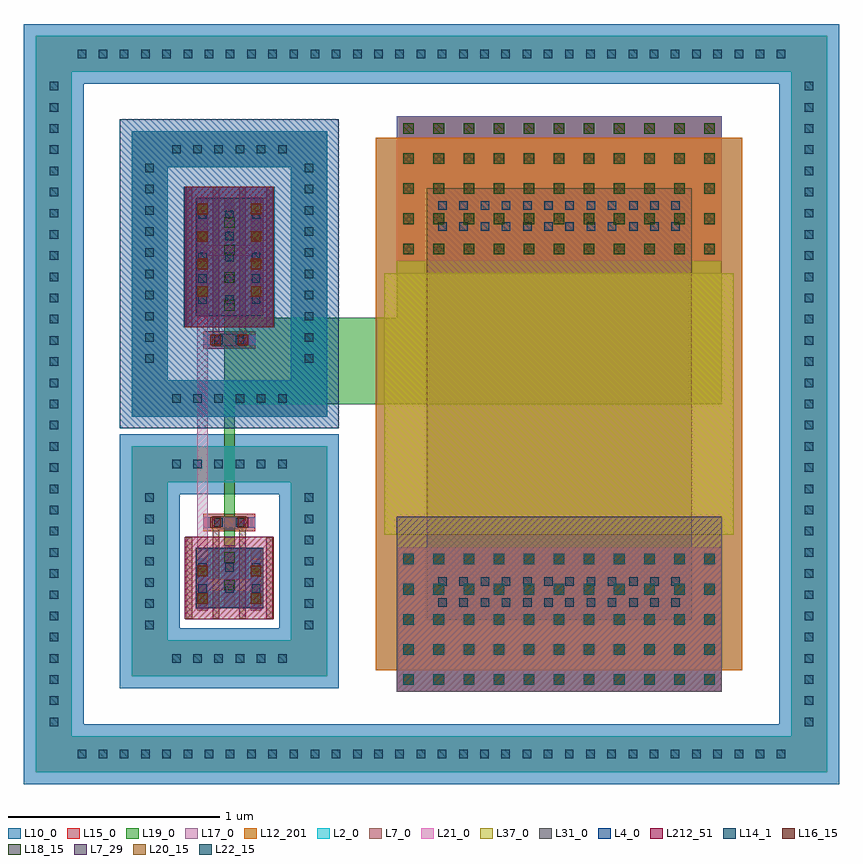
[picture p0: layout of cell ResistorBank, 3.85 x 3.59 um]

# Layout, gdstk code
import gdstk
lib = gdstk.Library(unit=1e-6, precision=1e-09)
def R(c, l, rs):  # rectangles x0, y0, x1, y1
    for r in rs: c.add(gdstk.rectangle(r[:2], r[2:], *l))
def A(c, l, x, y, w, h, nx, ny, dx, dy):  # array of equal rectangles
    R(c, l, [(x+i*dx, y+j*dy, x+i*dx+w, y+j*dy+h) for i in range(nx) for j in range(ny)])
L2_0 = (2, 0)
L4_0 = (4, 0)
L7_0 = (7, 0)
L7_29 = (7, 29)
L10_0 = (10, 0)
L12_201 = (12, 201)
L14_1 = (14, 1)
L15_0 = (15, 0)
L16_15 = (16, 15)
L17_0 = (17, 0)
L18_15 = (18, 15)
L19_0 = (19, 0)
L20_15 = (20, 15)
L21_0 = (21, 0)
L22_15 = (22, 15)
L31_0 = (31, 0)
L37_0 = (37, 0)
L212_51 = (212, 51)

nmossubringinresistorban = lib.new_cell('NMOSSubringInResistorBank')
R(nmossubringinresistorban, L2_0, [(-0.461,-0.543,-0.291,0.543), (-0.461,-0.543,0.461,-0.373), (0.291,-0.543,0.461,0.543), (-0.461,0.373,0.461,0.543)])
A(nmossubringinresistorban, L14_1, -0.27, -0.478, 0.04, 0.04, 6, 2, 0.1, 0.916)
A(nmossubringinresistorban, L14_1, -0.396, -0.32, 0.04, 0.04, 1, 7, 0, 0.1)
A(nmossubringinresistorban, L14_1, 0.356, -0.32, 0.04, 0.04, 1, 7, 0, 0.1)
R(nmossubringinresistorban, L15_0, [(-0.461,-0.543,0.461,-0.373), (-0.461,-0.543,-0.291,0.543), (0.291,-0.543,0.461,0.543), (-0.461,0.373,0.461,0.543)])
nmossubringinresistorban.add(gdstk.FlexPath([(0.376,0.599),(0.376,-0.458),(-0.376,-0.458),(-0.376,0.458),(0.517,0.458)], 0.282, ends="flush", simple_path=True, layer=10, datatype=0))  # L10_0

pmossubringinresistorban = lib.new_cell('PMOSSubringInResistorBank')
R(pmossubringinresistorban, L2_0, [(-0.461,-0.673,-0.291,0.673), (-0.461,-0.673,0.461,-0.503), (0.291,-0.673,0.461,0.673), (-0.461,0.503,0.461,0.673)])
A(pmossubringinresistorban, L14_1, -0.27, -0.608, 0.04, 0.04, 6, 2, 0.1, 1.176)
A(pmossubringinresistorban, L14_1, -0.396, -0.42, 0.04, 0.04, 1, 10, 0, 0.1)
A(pmossubringinresistorban, L14_1, 0.356, -0.42, 0.04, 0.04, 1, 10, 0, 0.1)
R(pmossubringinresistorban, L15_0, [(-0.461,-0.673,0.461,-0.503), (-0.461,-0.673,-0.291,0.673), (0.291,-0.673,0.461,0.673), (-0.461,0.503,0.461,0.673)])
pmossubringinresistorban.add(gdstk.FlexPath([(0.376,0.729),(0.376,-0.588),(-0.376,-0.588),(-0.376,0.588),(0.517,0.588)], 0.282, ends="flush", simple_path=True, layer=4, datatype=0))  # L4_0

totalsubringinresistorba = lib.new_cell('TotalSubringInResistorBank')
R(totalsubringinresistorba, L2_0, [(-1.867,-1.737,-1.697,1.737), (-1.867,-1.737,1.867,-1.567), (1.697,-1.737,1.867,1.737), (-1.867,1.567,1.867,1.737)])
A(totalsubringinresistorba, L14_1, -1.67, -1.672, 0.04, 0.04, 34, 2, 0.1, 3.304)
A(totalsubringinresistorba, L14_1, -1.802, -1.52, 0.04, 0.04, 1, 31, 0, 0.1)
A(totalsubringinresistorba, L14_1, 1.762, -1.52, 0.04, 0.04, 1, 31, 0, 0.1)
R(totalsubringinresistorba, L15_0, [(-1.867,-1.737,1.867,-1.567), (-1.867,-1.737,-1.697,1.737), (1.697,-1.737,1.867,1.737), (-1.867,1.567,1.867,1.737)])
totalsubringinresistorba.add(gdstk.FlexPath([(1.782,1.793),(1.782,-1.652),(-1.782,-1.652),(-1.782,1.652),(1.923,1.652)], 0.282, ends="flush", simple_path=True, layer=10, datatype=0))  # L10_0

viamet12met2onnmosoutput = lib.new_cell('ViaMet12Met2OnNMOSOutputInTransmissionGate')
R(viamet12met2onnmosoutput, L15_0, [(-0.025,-0.122,0.025,0.122)])
R(viamet12met2onnmosoutput, L16_15, [(-0.025,-0.09,0.025,-0.04), (-0.025,0.04,0.025,0.09)])
R(viamet12met2onnmosoutput, L17_0, [(-0.025,-0.122,0.025,0.122)])

viamet32met4onpmosoutput = lib.new_cell('ViaMet32Met4OnPMOSOutputInTransmissionGate')
R(viamet32met4onpmosoutput, L19_0, [(-0.025,-0.252,0.025,0.252)])
A(viamet32met4onpmosoutput, L20_15, -0.025, -0.22, 0.05, 0.05, 1, 4, 0, 0.13)
R(viamet32met4onpmosoutput, L21_0, [(-0.025,-0.252,0.025,0.252)])

viamet32met4onnmosoutput = lib.new_cell('ViaMet32Met4OnNMOSOutputInTransmissionGate')
R(viamet32met4onnmosoutput, L19_0, [(-0.025,-0.122,0.025,0.122)])
R(viamet32met4onnmosoutput, L20_15, [(-0.025,-0.09,0.025,-0.04), (-0.025,0.04,0.025,0.09)])
R(viamet32met4onnmosoutput, L21_0, [(-0.025,-0.122,0.025,0.122)])

pmosintransmissiongate = lib.new_cell('PMOSInTransmissionGate')
R(pmosintransmissiongate, L2_0, [(-0.154,-0.275,0.154,0.275)])
A(pmosintransmissiongate, L7_0, -0.204, -0.331, 0.03, 0.662, 4, 1, 0.126, 0)
R(pmosintransmissiongate, L7_29, [(-0.159,-0.28,0.159,0.28)])
R(pmosintransmissiongate, L10_0, [(-0.214,-0.331,0.214,0.331)])
A(pmosintransmissiongate, L14_1, -0.146, -0.22, 0.04, 0.04, 3, 5, 0.126, 0.1)
A(pmosintransmissiongate, L15_0, -0.151, -0.275, 0.05, 0.55, 3, 1, 0.126, 0)
R(pmosintransmissiongate, L212_51, [(-0.21,-0.331,0.21,0.331)])

viamet22met3onnmosoutput = lib.new_cell('ViaMet22Met3OnNMOSOutputInTransmissionGate')
R(viamet22met3onnmosoutput, L17_0, [(-0.025,-0.122,0.025,0.122)])
R(viamet22met3onnmosoutput, L18_15, [(-0.025,-0.09,0.025,-0.04), (-0.025,0.04,0.025,0.09)])
R(viamet22met3onnmosoutput, L19_0, [(-0.025,-0.122,0.025,0.122)])

viapoly2met1onnmosinputi = lib.new_cell('ViaPoly2Met1OnNMOSInputInTransmissionGate')
R(viapoly2met1onnmosinputi, L7_0, [(-0.08,-0.03,0.08,0.03)])
R(viapoly2met1onnmosinputi, L14_1, [(-0.07,-0.02,-0.03,0.02), (0.03,-0.02,0.07,0.02)])
R(viapoly2met1onnmosinputi, L15_0, [(-0.091,-0.041,0.091,0.041)])

viamet12met2onnmosinputi = lib.new_cell('ViaMet12Met2OnNMOSInputInTransmissionGate')
R(viamet12met2onnmosinputi, L15_0, [(-0.122,-0.025,0.122,0.025)])
R(viamet12met2onnmosinputi, L16_15, [(-0.09,-0.025,-0.04,0.025), (0.04,-0.025,0.09,0.025)])
R(viamet12met2onnmosinputi, L17_0, [(-0.122,-0.025,0.122,0.025)])

viamet12met2onpmosoutput = lib.new_cell('ViaMet12Met2OnPMOSOutputInTransmissionGate')
R(viamet12met2onpmosoutput, L15_0, [(-0.025,-0.252,0.025,0.252)])
A(viamet12met2onpmosoutput, L16_15, -0.025, -0.22, 0.05, 0.05, 1, 4, 0, 0.13)
R(viamet12met2onpmosoutput, L17_0, [(-0.025,-0.252,0.025,0.252)])

viamet12met2onpmosinputi = lib.new_cell('ViaMet12Met2OnPMOSInputInTransmissionGate')
R(viamet12met2onpmosinputi, L15_0, [(-0.122,-0.025,0.122,0.025)])
R(viamet12met2onpmosinputi, L16_15, [(-0.09,-0.025,-0.04,0.025), (0.04,-0.025,0.09,0.025)])
R(viamet12met2onpmosinputi, L17_0, [(-0.122,-0.025,0.122,0.025)])

viapoly2met1onpmosinputi = lib.new_cell('ViaPoly2Met1OnPMOSInputInTransmissionGate')
R(viapoly2met1onpmosinputi, L7_0, [(-0.08,-0.03,0.08,0.03)])
R(viapoly2met1onpmosinputi, L14_1, [(-0.07,-0.02,-0.03,0.02), (0.03,-0.02,0.07,0.02)])
R(viapoly2met1onpmosinputi, L15_0, [(-0.091,-0.041,0.091,0.041)])

viamet22met3onpmosoutput = lib.new_cell('ViaMet22Met3OnPMOSOutputInTransmissionGate')
R(viamet22met3onpmosoutput, L17_0, [(-0.025,-0.252,0.025,0.252)])
A(viamet22met3onpmosoutput, L18_15, -0.025, -0.22, 0.05, 0.05, 1, 4, 0, 0.13)
R(viamet22met3onpmosoutput, L19_0, [(-0.025,-0.252,0.025,0.252)])

nmosintransmissiongate = lib.new_cell('NMOSInTransmissionGate')
R(nmosintransmissiongate, L2_0, [(-0.154,-0.137,0.154,0.137)])
A(nmosintransmissiongate, L7_0, -0.204, -0.193, 0.03, 0.386, 4, 1, 0.126, 0)
R(nmosintransmissiongate, L7_29, [(-0.159,-0.142,0.159,0.142)])
A(nmosintransmissiongate, L14_1, -0.146, -0.07, 0.04, 0.04, 3, 2, 0.126, 0.1)
A(nmosintransmissiongate, L15_0, -0.151, -0.137, 0.05, 0.274, 3, 1, 0.126, 0)
R(nmosintransmissiongate, L212_51, [(-0.21,-0.193,0.21,0.193)])

transmissiongateinresist = lib.new_cell('TransmissionGateInResistorBank')
transmissiongateinresist.add(gdstk.FlexPath([(-0.126,1.925),(0.126,1.925)], 0.05, ends="flush", simple_path=True, layer=21, datatype=0))  # L21_0
transmissiongateinresist.add(gdstk.FlexPath([(-0.025,0.558),(0.025,0.558)], 0.05, ends="flush", simple_path=True, layer=19, datatype=0))  # L19_0
transmissiongateinresist.add(gdstk.FlexPath([(-0.063,0.64),(0.063,0.64)], 0.06, ends="flush", simple_path=True, layer=7, datatype=0))  # L7_0
transmissiongateinresist.add(gdstk.FlexPath([(-0.063,0.379),(-0.063,0.67)], 0.03, ends="flush", simple_path=True, layer=7, datatype=0))  # L7_0
transmissiongateinresist.add(gdstk.FlexPath([(0.063,0.379),(0.063,0.67)], 0.03, ends="flush", simple_path=True, layer=7, datatype=0))  # L7_0
transmissiongateinresist.add(gdstk.FlexPath([(-0.126,1.893),(-0.126,0.379)], 0.05, ends="flush", simple_path=True, layer=21, datatype=0))  # L21_0
transmissiongateinresist.add(gdstk.FlexPath([(-0.126,0.347),(0.126,0.347)], 0.05, ends="flush", simple_path=True, layer=21, datatype=0))  # L21_0
transmissiongateinresist.add(gdstk.FlexPath([(-0.122,1.502),(0.122,1.502)], 0.082, ends="flush", simple_path=True, layer=15, datatype=0))  # L15_0
transmissiongateinresist.add(gdstk.FlexPath([(0,1.893),(0,0.379)], 0.05, ends="flush", simple_path=True, layer=19, datatype=0))  # L19_0
transmissiongateinresist.add(gdstk.FlexPath([(-0.122,0.64),(0.122,0.64)], 0.082, ends="flush", simple_path=True, layer=15, datatype=0))  # L15_0
transmissiongateinresist.add(gdstk.FlexPath([(-0.063,1.893),(-0.063,1.472)], 0.03, ends="flush", simple_path=True, layer=7, datatype=0))  # L7_0
transmissiongateinresist.add(gdstk.FlexPath([(0.063,1.893),(0.063,1.472)], 0.03, ends="flush", simple_path=True, layer=7, datatype=0))  # L7_0
transmissiongateinresist.add(gdstk.FlexPath([(-0.063,1.502),(0.063,1.502)], 0.06, ends="flush", simple_path=True, layer=7, datatype=0))  # L7_0
transmissiongateinresist.add(gdstk.FlexPath([(-0.025,1.584),(0.025,1.584)], 0.05, ends="flush", simple_path=True, layer=19, datatype=0))  # L19_0
transmissiongateinresist.add(gdstk.Reference(viamet12met2onnmosoutput, (0,0.411)))
transmissiongateinresist.add(gdstk.Reference(viamet12met2onnmosoutput, (-0.126,0.347)))
transmissiongateinresist.add(gdstk.Reference(viamet12met2onnmosoutput, (0.126,0.347)))
transmissiongateinresist.add(gdstk.Reference(viamet32met4onpmosoutput, (-0.126,1.925)))
transmissiongateinresist.add(gdstk.Reference(viamet32met4onpmosoutput, (0.126,1.925)))
transmissiongateinresist.add(gdstk.Reference(viamet32met4onnmosoutput, (-0.126,0.347)))
transmissiongateinresist.add(gdstk.Reference(viamet32met4onnmosoutput, (0.126,0.347)))
transmissiongateinresist.add(gdstk.Reference(pmosintransmissiongate, (0,1.893)))
transmissiongateinresist.add(gdstk.Reference(viamet22met3onnmosoutput, (0,0.411)))
transmissiongateinresist.add(gdstk.Reference(viamet22met3onnmosoutput, (-0.126,0.347)))
transmissiongateinresist.add(gdstk.Reference(viamet22met3onnmosoutput, (0.126,0.347)))
transmissiongateinresist.add(gdstk.Reference(viapoly2met1onnmosinputi, (0,0.64)))
transmissiongateinresist.add(gdstk.Reference(viamet12met2onnmosinputi, (0,0.64)))
transmissiongateinresist.add(gdstk.Reference(viamet12met2onpmosoutput, (0,1.861)))
transmissiongateinresist.add(gdstk.Reference(viamet12met2onpmosoutput, (-0.126,1.925)))
transmissiongateinresist.add(gdstk.Reference(viamet12met2onpmosoutput, (0.126,1.925)))
transmissiongateinresist.add(gdstk.Reference(viamet12met2onpmosinputi, (0,1.502)))
transmissiongateinresist.add(gdstk.Reference(viapoly2met1onpmosinputi, (0,1.502)))
transmissiongateinresist.add(gdstk.Reference(viamet22met3onpmosoutput, (0,1.861)))
transmissiongateinresist.add(gdstk.Reference(viamet22met3onpmosoutput, (-0.126,1.925)))
transmissiongateinresist.add(gdstk.Reference(viamet22met3onpmosoutput, (0.126,1.925)))
transmissiongateinresist.add(gdstk.Reference(nmosintransmissiongate, (0,0.379)))

opppcresinresistorbank = lib.new_cell('OpppcresInResistorBank')
R(opppcresinresistorbank, L7_0, [(-0.625,-1.017,0.625,1.017)])
R(opppcresinresistorbank, L10_0, [(-0.865,-1.257,0.865,1.257)])
R(opppcresinresistorbank, L12_201, [(-0.865,-1.257,0.865,1.257)])
A(opppcresinresistorbank, L14_1, -0.57, -0.957, 0.04, 0.04, 12, 2, 0.1, 0.1)
A(opppcresinresistorbank, L14_1, -0.57, 0.817, 0.04, 0.04, 12, 2, 0.1, 0.1)
R(opppcresinresistorbank, L15_0, [(-0.582,-0.969,0.582,-0.805), (-0.582,0.805,0.582,0.969)])
R(opppcresinresistorbank, L37_0, [(-0.825,-0.617,0.825,0.617)])

viamet12met2onresistorin = lib.new_cell('ViaMet12Met2OnResistorInResistorBank')
R(viamet12met2onresistorin, L15_0, [(-0.767,-0.341,0.767,0.341)])
A(viamet12met2onresistorin, L16_15, -0.735, -0.309, 0.05, 0.05, 11, 5, 0.142, 0.142)
R(viamet12met2onresistorin, L17_0, [(-0.767,-0.341,0.767,0.341)])

viamet32met4onresistorin = lib.new_cell('ViaMet32Met4OnResistorInResistorBank')
R(viamet32met4onresistorin, L19_0, [(-0.767,-0.341,0.767,0.341)])
A(viamet32met4onresistorin, L20_15, -0.735, -0.309, 0.05, 0.05, 11, 5, 0.142, 0.142)
R(viamet32met4onresistorin, L21_0, [(-0.767,-0.341,0.767,0.341)])

viamet42met5onresistorin = lib.new_cell('ViaMet42Met5OnResistorInResistorBank')
R(viamet42met5onresistorin, L21_0, [(-0.767,-0.341,0.767,0.341)])
A(viamet42met5onresistorin, L22_15, -0.735, -0.309, 0.05, 0.05, 11, 5, 0.142, 0.142)
R(viamet42met5onresistorin, L31_0, [(-0.767,-0.341,0.767,0.341)])

viamet22met3onresistorin = lib.new_cell('ViaMet22Met3OnResistorInResistorBank')
R(viamet22met3onresistorin, L17_0, [(-0.767,-0.341,0.767,0.341)])
A(viamet22met3onresistorin, L18_15, -0.735, -0.309, 0.05, 0.05, 11, 5, 0.142, 0.142)
R(viamet22met3onresistorin, L19_0, [(-0.767,-0.341,0.767,0.341)])

resistorbank = lib.new_cell('ResistorBank')
resistorbank.add(gdstk.FlexPath([(1.556,0.184),(1.556,0.668)], 1.534, ends="flush", simple_path=True, layer=31, datatype=0))  # L31_0
resistorbank.add(gdstk.FlexPath([(1.556,2.216),(1.556,1.403)], 1.534, ends="flush", simple_path=True, layer=19, datatype=0))  # L19_0
resistorbank.add(gdstk.FlexPath([(-0.208,0.379),(0.208,0.379)], 0.387, ends="flush", simple_path=True, layer=212, datatype=51))  # L212_51
resistorbank.add(gdstk.FlexPath([(-0.291,1.814),(0.291,1.814)], 1.006, ends="flush", simple_path=True, layer=4, datatype=0))  # L4_0
resistorbank.add(gdstk.FlexPath([(0,1.403),(2.323,1.403)], 0.406, ends="flush", simple_path=True, layer=19, datatype=0))  # L19_0
resistorbank.add(gdstk.FlexPath([(1.556,2.216),(1.556,2.005)], 1.534, ends="flush", simple_path=True, layer=15, datatype=0))  # L15_0
resistorbank.add(gdstk.FlexPath([(1.556,0.184),(1.556,0.395)], 1.534, ends="flush", simple_path=True, layer=15, datatype=0))  # L15_0
resistorbank.add(gdstk.Reference(nmossubringinresistorban, (0,0.458)))
resistorbank.add(gdstk.Reference(pmossubringinresistorban, (0,1.814)))
resistorbank.add(gdstk.Reference(totalsubringinresistorba, (0.954,1.2)))
resistorbank.add(gdstk.Reference(transmissiongateinresist, (0,0)))
resistorbank.add(gdstk.Reference(opppcresinresistorbank, (1.556,1.2)))
resistorbank.add(gdstk.Reference(viamet12met2onresistorin, (1.556,0.184)))
resistorbank.add(gdstk.Reference(viamet12met2onresistorin, (1.556,2.216)))
resistorbank.add(gdstk.Reference(viamet32met4onresistorin, (1.556,0.184)))
resistorbank.add(gdstk.Reference(viamet42met5onresistorin, (1.556,0.184)))
resistorbank.add(gdstk.Reference(viamet22met3onresistorin, (1.556,0.184)))
resistorbank.add(gdstk.Reference(viamet22met3onresistorin, (1.556,2.216)))

lib.write_gds('ResistorBank.gds')
